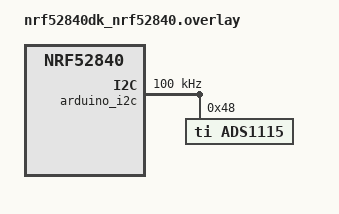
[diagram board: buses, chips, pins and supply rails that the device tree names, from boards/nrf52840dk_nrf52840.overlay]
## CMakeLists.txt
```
cmake_minimum_required(VERSION 3.20.0)
find_package(Zephyr REQUIRED HINTS $ENV{ZEPHYR_BASE})
project(temp_sensor_test)

# Only builds temp_sensor — no max30102 involved
target_sources(app PRIVATE
    src/main.c
    ../temp_sensor/src/temp_sensor.c
)

target_include_directories(app PRIVATE
    src
    ../temp_sensor/src
)

target_link_libraries(app PRIVATE m)
```

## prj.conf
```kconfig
CONFIG_UART_CONSOLE=y
CONFIG_PRINTK=y

CONFIG_I2C=y
CONFIG_GPIO=y

CONFIG_LOG=y
CONFIG_LOG_DEFAULT_LEVEL=3

CONFIG_MAIN_STACK_SIZE=2048

CONFIG_FPU=y
CONFIG_FPU_SHARING=y
CONFIG_NEWLIB_LIBC=y
```

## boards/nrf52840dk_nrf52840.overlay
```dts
&arduino_i2c {
    status = "okay";
    clock-frequency = <I2C_BITRATE_STANDARD>;

    ads1115: ads1115@48 {
        compatible = "ti,ads1115";
        reg = <0x48>;
        #io-channel-cells = <1>;
        status = "okay";
    };
};
```

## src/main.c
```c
/*
 * temp_test_app/src/main.c
 *
 * Standalone test for ADS1115 + NTC thermistor (voltage divider).
 * Does NOT touch the MAX30102 — safe to run without your teammate's sensor.
 *
 * Wiring:
 *   ADS1115 SDA → P0.26  |  SCL → P0.27  |  VCC → 3V3  |  GND → GND
 *   ADS1115 ADDR → GND   (I2C address = 0x48)
 *   Thermistor + 9.1kΩ divider → AIN0
 */

#include <zephyr/kernel.h>
#include <zephyr/device.h>
#include <zephyr/drivers/i2c.h>
#include "temp_sensor.h"

#define I2C_NODE         DT_NODELABEL(arduino_i2c)
#define READ_INTERVAL_MS 1000
#define NUM_READINGS     20     /* take 20 readings then dump full log */

int main(void)
{
    printk("\n========================================\n");
    printk("  ADS1115 Thermistor — Standalone Test  \n");
    printk("========================================\n\n");

    const struct device *i2c = DEVICE_DT_GET(I2C_NODE);
    if (!device_is_ready(i2c)) {
        printk("FAIL: I2C bus not ready. Check SDA/SCL wiring.\n");
        return -1;
    }
    printk("I2C bus ready.\n");

   /* I2C scanner */
   printk("Scanning I2C bus...\n");
   for (uint8_t addr = 1; addr < 127; addr++) {
    	uint8_t dummy;
    	int ret2 = i2c_read(i2c, &dummy, 1, addr);
    	if (ret2 == 0) {
        	printk("Found device at 0x%02X\n", addr);
        }
    }
    printk("Scan done.\n");
	
    int ret = temp_sensor_init(i2c);
    if (ret < 0) {
        printk("FAIL: ADS1115 not found on bus (addr 0x48). "
               "Check wiring and ADDR pin.\n");
        return -1;
    }
    printk("ADS1115 found and initialised.\n\n");

    /* ── Take NUM_READINGS samples ───────────────────────────────────── */
    printk("Taking %d readings at %d ms intervals...\n\n",
           NUM_READINGS, READ_INTERVAL_MS);

    for (int i = 0; i < NUM_READINGS; i++) {
        temp_reading_t r;
        ret = temp_sensor_read(&r);

        if (ret < 0 || !r.valid) {
            printk("[%2d/%2d] ERROR: read failed (%d)\n",
                   i + 1, NUM_READINGS, ret);
        } else {
            int32_t deg  =  r.celsius_mdeg / 1000;
            int32_t mdeg = (r.celsius_mdeg >= 0)
                           ?  (r.celsius_mdeg % 1000)
                           : -(r.celsius_mdeg % 1000);

            printk("[%2d/%2d] Temperature: %d.%03d °C   (t = %u ms)\n",
                   i + 1, NUM_READINGS, deg, mdeg, r.timestamp_ms);
        }

        k_sleep(K_MSEC(READ_INTERVAL_MS));
    }

    /* ── Dump the full stored log ─────────────────────────────────────── */
    uint32_t count = 0;
    const temp_reading_t *log = temp_sensor_get_log(&count);

    printk("\n============ Stored log (%u entries) ============\n", count);
    for (uint32_t i = 0; i < count; i++) {
        if (!log[i].valid) {
            printk("  [%2u] INVALID  (t = %u ms)\n", i, log[i].timestamp_ms);
        } else {
            int32_t deg  =  log[i].celsius_mdeg / 1000;
            int32_t mdeg = (log[i].celsius_mdeg >= 0)
                           ?  (log[i].celsius_mdeg % 1000)
                           : -(log[i].celsius_mdeg % 1000);
            printk("  [%2u] %d.%03d °C  (t = %u ms)\n",
                   i, deg, mdeg, log[i].timestamp_ms);
        }
    }
    printk("=================================================\n\n");

    printk("Test complete.\n");
    return 0;
}
```
